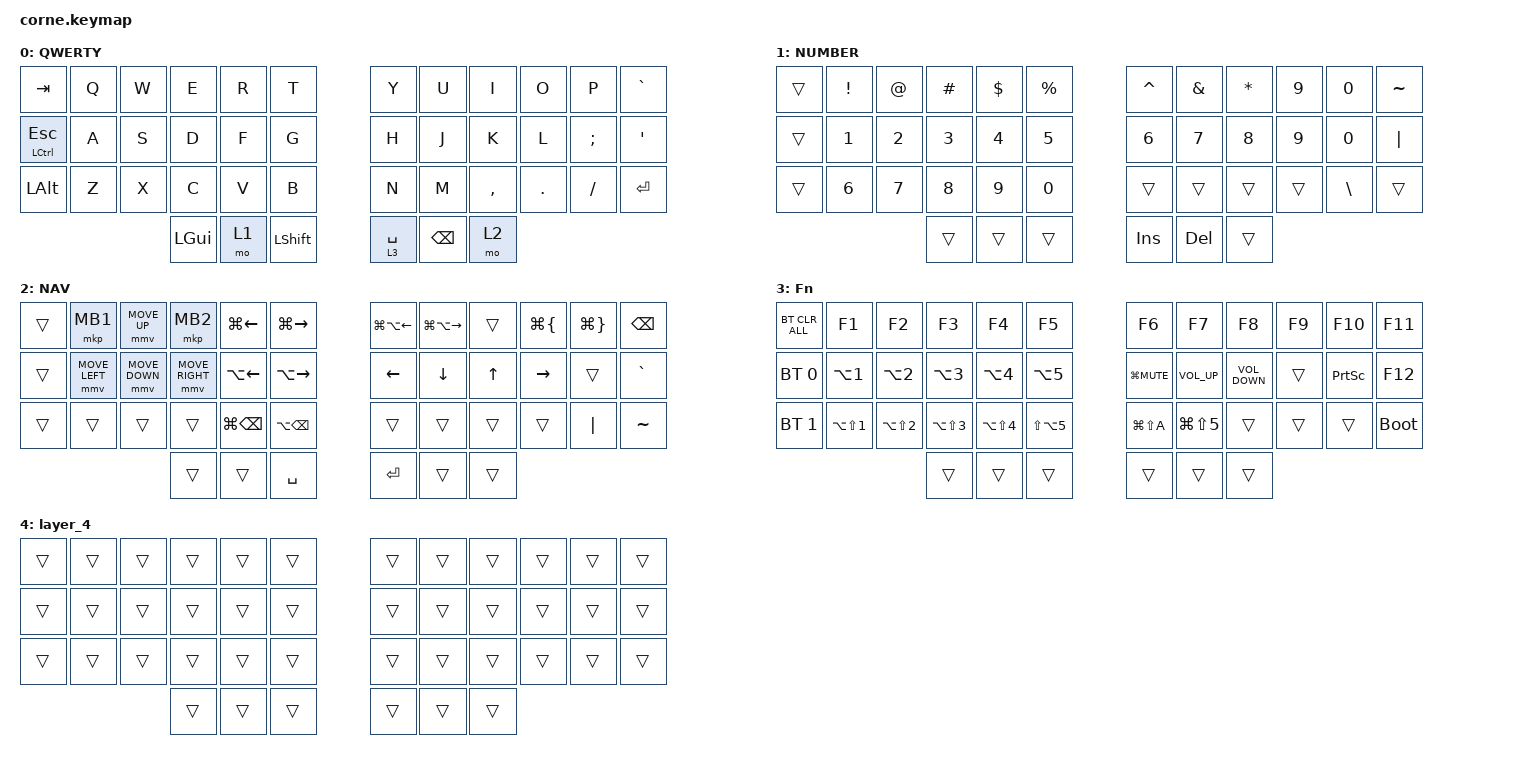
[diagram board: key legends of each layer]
#define ZMK_POINTING_DEFAULT_MOVE_VAL 1200  // 600
#define ZMK_POINTING_DEFAULT_SCRL_VAL 25   // 10

#include <input/processors.dtsi>
#include <zephyr/dt-bindings/input/input-event-codes.h>
#include <behaviors.dtsi>
#include <dt-bindings/zmk/bt.h>
#include <dt-bindings/zmk/keys.h>
#include <dt-bindings/zmk/pointing.h>

&mmv_input_listener { input-processors = <&zip_xy_scaler 2 1>; };

&msc_input_listener { input-processors = <&zip_scroll_scaler 2 1>; };

&msc {
    acceleration-exponent = <1>;
    time-to-max-speed-ms = <100>;
    delay-ms = <0>;
};

&mmv {
    time-to-max-speed-ms = <500>;
    acceleration-exponent = <1>;
    trigger-period-ms = <16>;
};

/ {
    behaviors {
        td0: td0 {
            compatible = "zmk,behavior-tap-dance";
            display-name = "Shift/Caps Lock Tap Dance";
            #binding-cells = <0>;
            bindings = <&kp LEFT_SHIFT>, <&kp CAPS>;
        };

        tap_hold0: tap_hold0 {
            compatible = "zmk,behavior-hold-tap";
            label = "TAP_HOLD0";
            bindings = <&mt>, <&kp>;

            #binding-cells = <2>;
            tapping-term-ms = <200>;
        };
    };

    combos {
        compatible = "zmk,combos";

        // Left hand — top row

        left_paren {
            bindings = <&kp LEFT_PARENTHESIS>;
            key-positions = <1 2 3>;   // Q W E
        };

        right_paren {
            bindings = <&kp RIGHT_PARENTHESIS>;
            key-positions = <3 4 5>;   // E R T
        };

        // Left hand — home row

        left_bracket {
            bindings = <&kp LEFT_BRACKET>;
            key-positions = <7 8 9>;   // A S D
        };

        right_bracket {
            bindings = <&kp RIGHT_BRACKET>;
            key-positions = <9 10 11>; // D F G
        };

        // Left hand — bottom row

        left_brace {
            bindings = <&kp LEFT_BRACE>;
            key-positions = <13 14 15>; // Z X C
        };

        right_brace {
            bindings = <&kp RIGHT_BRACE>;
            key-positions = <15 16 17>; // C V B
        };

        // Right hand — top row

        dash {
            bindings = <&kp MINUS>;
            key-positions = <19 20 21>; // U I O
        };

        underscore {
            bindings = <&kp UNDERSCORE>;
            key-positions = <21 22 23>; // O P GRAVE
        };

        // Right hand — home row

        equals {
            bindings = <&kp EQUAL>;
            key-positions = <25 26 27>; // J K L
        };

        plus {
            bindings = <&kp PLUS>;
            key-positions = <27 28 29>; // L SEMI SQT
        };
    };

    keymap {
        compatible = "zmk,keymap";

        default_layer {
            display-name = "QWERTY";
            bindings = <
&kp TAB                  &kp Q  &kp W  &kp E     &kp R  &kp T             &kp Y        &kp U          &kp I      &kp O    &kp P     &kp GRAVE
&tap_hold0 LCTRL ESCAPE  &kp A  &kp S  &kp D     &kp F  &kp G             &kp H        &kp J          &kp K      &kp L    &kp SEMI  &kp SQT
&kp LEFT_ALT             &kp Z  &kp X  &kp C     &kp V  &kp B             &kp N        &kp M          &kp COMMA  &kp DOT  &kp FSLH  &kp ENTER
                                       &kp LGUI  &mo 1  &kp LEFT_SHIFT    &lt 3 SPACE  &kp BACKSPACE  &mo 2
            >;
        };

        lower_layer {
            display-name = "NUMBER";
            bindings = <
&trans  &kp EXCLAMATION  &kp AT_SIGN   &kp HASH      &kp DOLLAR    &kp PERCENT     &kp CARET     &kp AMPERSAND  &kp ASTERISK  &kp N9        &kp N0         &kp TILDE
&trans  &kp NUMBER_1     &kp NUMBER_2  &kp NUMBER_3  &kp NUMBER_4  &kp NUMBER_5    &kp NUMBER_6  &kp NUMBER_7   &kp NUMBER_8  &kp NUMBER_9  &kp NUMBER_0   &kp PIPE
&trans  &kp NUMBER_6     &kp N7        &kp NUMBER_8  &kp NUMBER_9  &kp NUMBER_0    &trans        &trans         &trans        &trans        &kp BACKSLASH  &trans
                                       &trans        &trans        &trans          &kp INS       &kp DEL        &trans
            >;
        };

        raise_layer {
            display-name = "NAV";
            bindings = <
&trans  &mkp MB1        &mmv MOVE_UP    &mkp MB2         &kp LG(LEFT_ARROW)  &kp LG(RIGHT)          &kp LG(LA(LEFT_ARROW))  &kp LG(LA(RIGHT_ARROW))  &trans        &kp LG(LEFT_BRACE)  &kp LG(RIGHT_BRACE)  &kp BSPC
&trans  &mmv MOVE_LEFT  &mmv MOVE_DOWN  &mmv MOVE_RIGHT  &kp LA(LEFT_ARROW)  &kp LA(RIGHT_ARROW)    &kp LEFT_ARROW          &kp DOWN                 &kp UP_ARROW  &kp RIGHT           &trans               &kp GRAVE
&trans  &trans          &trans          &trans           &kp LG(BACKSPACE)   &kp LA(BACKSPACE)      &trans                  &trans                   &trans        &trans              &kp PIPE             &kp TILDE
                                        &trans           &trans              &kp SPACE              &kp RET                 &trans                   &trans
            >;
        };

        layer_3 {
            display-name = "Fn";
            bindings = <
&bt BT_CLR_ALL  &kp F1                &kp F2                &kp F3                &kp F4                &kp F5                  &kp F6          &kp F7                &kp F8             &kp F9  &kp F10          &kp F11
&bt BT_SEL 0    &kp LA(NUMBER_1)      &kp LA(NUMBER_2)      &kp LA(NUMBER_3)      &kp LA(NUMBER_4)      &kp LA(NUMBER_5)        &kp LG(K_MUTE)  &kp C_VOLUME_UP       &kp C_VOLUME_DOWN  &trans  &kp PRINTSCREEN  &kp F12
&bt BT_SEL 1    &kp LA(LS(NUMBER_1))  &kp LA(LS(NUMBER_2))  &kp LA(LS(NUMBER_3))  &kp LA(LS(NUMBER_4))  &kp LS(LA(NUMBER_5))    &kp LG(LS(A))   &kp LG(LS(NUMBER_5))  &trans             &trans  &trans           &bootloader
                                                            &trans                &trans                &trans                  &trans          &trans                &trans
            >;
        };

        layer_4 {
            bindings = <
&trans  &trans  &trans  &trans  &trans  &trans    &trans  &trans  &trans  &trans  &trans  &trans
&trans  &trans  &trans  &trans  &trans  &trans    &trans  &trans  &trans  &trans  &trans  &trans
&trans  &trans  &trans  &trans  &trans  &trans    &trans  &trans  &trans  &trans  &trans  &trans
                        &trans  &trans  &trans    &trans  &trans  &trans
            >;
        };
    };
};
